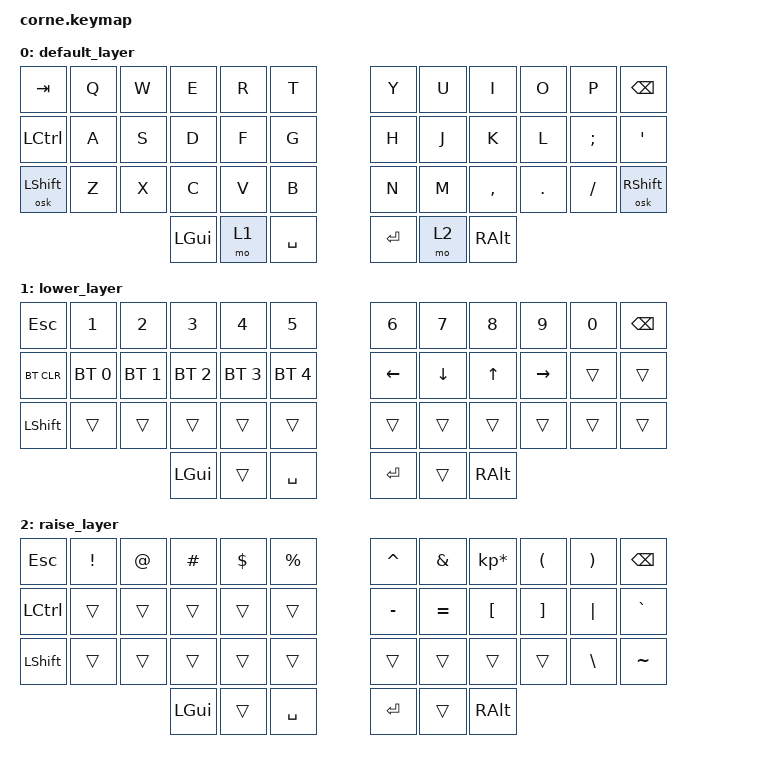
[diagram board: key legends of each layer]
/*
 * Copyright (c) 2020 The ZMK Contributors
 *
 * SPDX-License-Identifier: MIT
 */

#include <behaviors.dtsi>
#include <dt-bindings/zmk/keys.h>
#include <dt-bindings/zmk/bt.h>

/ {
    behaviors {
        osk: oneshotkey {
			compatible = "zmk,behavior-key-press";
			label = "KEY_PRESS";
			usage_page = <USAGE_KEYPAD>;
			#binding-cells = <1>;
		};
    };


        keymap {
                compatible = "zmk,keymap";

                default_layer {
// -----------------------------------------------------------------------------------------
// |  TAB |  Q  |  W  |  E  |  R  |  T  |   |  Y  |  U   |  I  |  O  |  P  | BKSP |
// | CTRL |  A  |  S  |  D  |  F  |  G  |   |  H  |  J   |  K  |  L  |  ;  |  '   |
// | SHFT |  Z  |  X  |  C  |  V  |  B  |   |  N  |  M   |  ,  |  .  |  /  | SHFT |
//                    | GUI | LWR | SPC |   | ENT | RSE  | ALT |
                        bindings = <
   &kp TAB   &kp Q &kp W &kp E &kp R &kp T   &kp Y &kp U  &kp I     &kp O   &kp P    &kp BSPC
   &kp LCTRL &kp A &kp S &kp D &kp F &kp G   &kp H &kp J  &kp K     &kp L   &kp SEMI &kp SQT
   &osk LSHFT &kp Z &kp X &kp C &kp V &kp B   &kp N &kp M  &kp COMMA &kp DOT &kp FSLH &osk RSHFT
                  &kp LGUI &mo 1 &kp SPACE   &kp RET &mo 2 &kp RALT
                        >;
                };
                lower_layer {
// -----------------------------------------------------------------------------------------
// |  ESC |  1  |  2  |  3  |  4  |  5  |   |  6  |  7  |  8  |  9  |  0  | BKSP |
// | BTCLR| BT1 | BT2 | BT3 | BT4 | BT5 |   | LFT | DWN |  UP | RGT |     |      |
// | SHFT |     |     |     |     |     |   |     |     |     |     |     |      |
//                    | GUI |     | SPC |   | ENT |     | ALT |
                        bindings = <
   &kp ESC    &kp N1       &kp N2       &kp N3       &kp N4       &kp N5            &kp N6   &kp N7   &kp N8 &kp N9    &kp N0 &kp BSPC
   &bt BT_CLR &bt BT_SEL 0 &bt BT_SEL 1 &bt BT_SEL 2 &bt BT_SEL 3 &bt BT_SEL 4      &kp LEFT &kp DOWN &kp UP &kp RIGHT &trans &trans
   &kp LSHFT  &trans       &trans       &trans       &trans       &trans            &trans   &trans   &trans &trans    &trans &trans
                                        &kp LGUI     &trans       &kp SPACE         &kp RET &trans &kp RALT
                        >;
                };

                raise_layer {
// -----------------------------------------------------------------------------------------
// |  ESC |  !  |  @  |  #  |  $  |  %  |   |  ^  |  &  |  *  |  (  |  )  | BKSP |
// | CTRL |     |     |     |     |     |   |  -  |  =  |  {  |  }  | "|" |  `   |
// | SHFT |     |     |     |     |     |   |  _  |  +  |  [  |  ]  |  \  |  ~   | // TODO: Fix this row when &mkp is committed
//                    | GUI |     | SPC |   | ENT |     | ALT |
                        bindings = <
   &kp  ESC  &kp EXCL  &kp AT  &kp HASH  &kp DLLR  &kp PRCNT   &kp CARET &kp AMPS  &kp KP_MULTIPLY &kp LPAR &kp RPAR &kp BSPC
   &kp LCTRL &trans    &trans  &trans    &trans    &trans      &kp MINUS &kp EQUAL &kp LBKT        &kp RBKT &kp PIPE &kp GRAVE
   &kp LSHFT &trans    &trans  &trans    &trans    &trans      &trans    &trans    &trans          &trans   &kp BSLH &kp TILDE
                                   &kp LGUI &trans &kp SPACE   &kp RET &trans &kp RALT
                        >;
                };
        };
};
